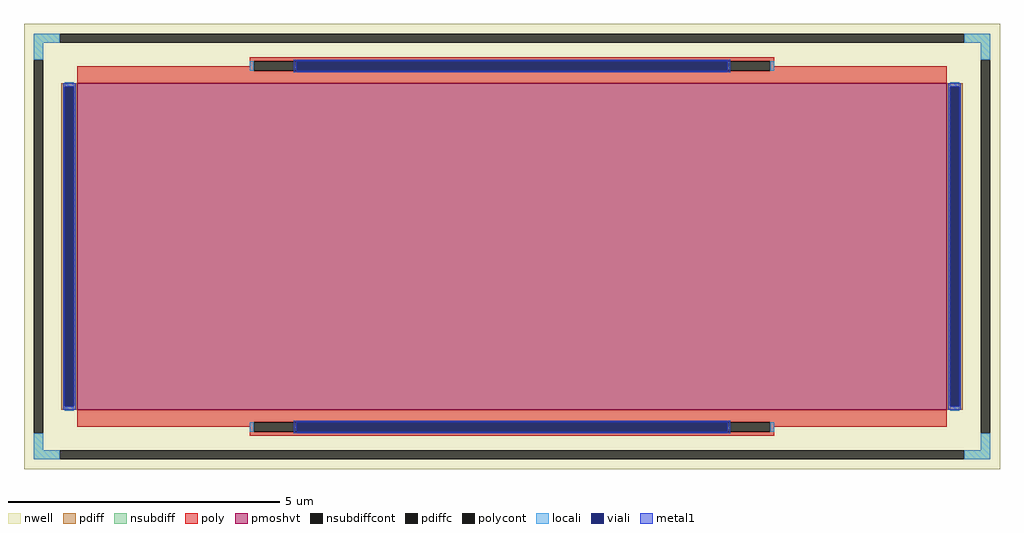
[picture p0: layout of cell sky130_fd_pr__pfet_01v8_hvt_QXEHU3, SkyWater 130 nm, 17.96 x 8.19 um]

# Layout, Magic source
magic
tech sky130A
magscale 1 2
<< nwell >>
rect -1796 -819 1796 819
<< pmoshvt >>
rect -1600 -600 1600 600
<< pdiff >>
rect -1658 588 -1600 600
rect -1658 -588 -1646 588
rect -1612 -588 -1600 588
rect -1658 -600 -1600 -588
rect 1600 588 1658 600
rect 1600 -588 1612 588
rect 1646 -588 1658 588
rect 1600 -600 1658 -588
<< pdiffc >>
rect -1646 -588 -1612 588
rect 1612 -588 1646 588
<< nsubdiff >>
rect -1760 749 -1664 783
rect 1664 749 1760 783
rect -1760 687 -1726 749
rect 1726 687 1760 749
rect -1760 -749 -1726 -687
rect 1726 -749 1760 -687
rect -1760 -783 -1664 -749
rect 1664 -783 1760 -749
<< nsubdiffcont >>
rect -1664 749 1664 783
rect -1760 -687 -1726 687
rect 1726 -687 1760 687
rect -1664 -783 1664 -749
<< poly >>
rect -966 681 966 697
rect -966 664 -950 681
rect -1600 647 -950 664
rect 950 664 966 681
rect 950 647 1600 664
rect -1600 600 1600 647
rect -1600 -647 1600 -600
rect -1600 -664 -950 -647
rect -966 -681 -950 -664
rect 950 -664 1600 -647
rect 950 -681 966 -664
rect -966 -697 966 -681
<< polycont >>
rect -950 647 950 681
rect -950 -681 950 -647
<< locali >>
rect -1760 749 -1664 783
rect 1664 749 1760 783
rect -1760 687 -1726 749
rect 1726 687 1760 749
rect -966 647 -950 681
rect 950 647 966 681
rect -1646 588 -1612 604
rect -1646 -604 -1612 -588
rect 1612 588 1646 604
rect 1612 -604 1646 -588
rect -966 -681 -950 -647
rect 950 -681 966 -647
rect -1760 -749 -1726 -687
rect 1726 -749 1760 -687
rect -1760 -783 -1664 -749
rect 1664 -783 1760 -749
<< viali >>
rect -792 647 792 681
rect -1646 -588 -1612 588
rect 1612 -588 1646 588
rect -792 -681 792 -647
<< metal1 >>
rect -804 681 804 687
rect -804 647 -792 681
rect 792 647 804 681
rect -804 641 804 647
rect -1652 588 -1606 600
rect -1652 -588 -1646 588
rect -1612 -588 -1606 588
rect -1652 -600 -1606 -588
rect 1606 588 1652 600
rect 1606 -588 1612 588
rect 1646 -588 1652 588
rect 1606 -600 1652 -588
rect -804 -647 804 -641
rect -804 -681 -792 -647
rect 792 -681 804 -647
rect -804 -687 804 -681
<< properties >>
string gencell sky130_fd_pr__pfet_01v8_hvt
string FIXED_BBOX -1743 -766 1743 766
string parameters w 6 l 16 m 1 nf 1 diffcov 100 polycov 60 guard 1 glc 1 grc 1 gtc 1 gbc 1 tbcov 100 rlcov 100 topc 1 botc 1 poverlap 0 doverlap 1 lmin 0.15 wmin 0.42 compatible {sky130_fd_pr__pfet_01v8  sky130_fd_pr__pfet_01v8_lvt sky130_fd_pr__pfet_01v8_hvt  sky130_fd_pr__pfet_g5v0d10v5} full_metal 1 viasrc 100 viadrn 100 viagate 50 viagb 0 viagr 0 viagl 0 viagt 0
string library sky130
<< end >>
